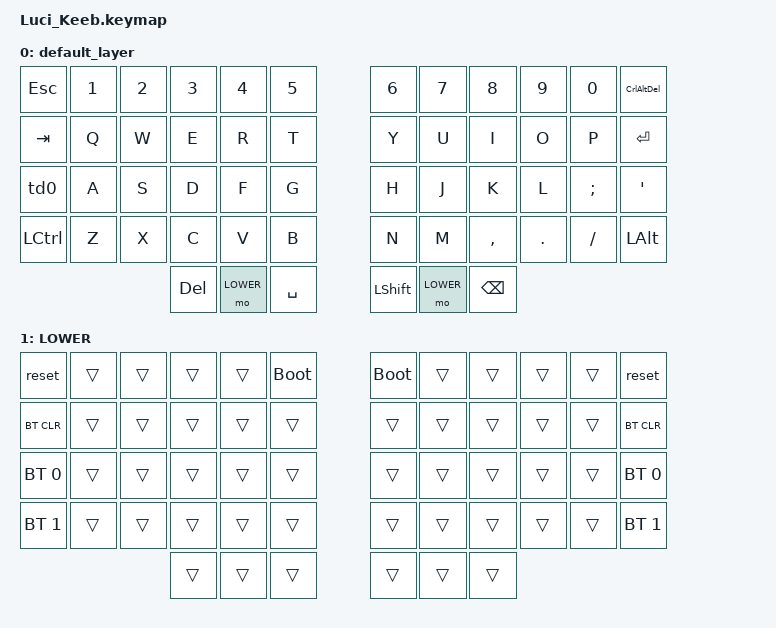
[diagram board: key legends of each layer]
// Usefull Links
//  Codes:       https://zmk.dev/docs/codes/
//  Hold-Tap:    https://zmk.dev/docs/behaviors/hold-tap/
//  Tap-Dance:   https://zmk.dev/docs/behaviors/tap-dance/
//  RGB:         https://zmk.dev/docs/behaviors/underglow/
//  Power:       https://zmk.dev/docs/behaviors/power/





//     --- Keymaps starts from here ---
//==============================================================================================================================================================================
#include <behaviors.dtsi>
#include <dt-bindings/zmk/keys.h>           // Standard keys
#include <dt-bindings/zmk/bt.h>             // Bluetooth selection
#include <dt-bindings/zmk/outputs.h>        // Output over usb or bluetooth





//---Layers---------------------------------------------------------------------
#define DEFAULT 0
#define LOWER 1





//==============================================================================================================================================================================
/ {
    behaviors {
    //----------------------------------------------------------------------Default Layer Tap Dance
        td0: tap_dance_0 {
            compatible = "zmk,behavior-tap-dance";
            label = "TAP_DANCE_0";
            #binding-cells = <0>;
            tapping-term-ms = <200>;
            bindings = <&kp LSHFT>, <&kp CLCK>; // Shift, CapsLock

            // Called on 'default_layer' where shift would be
        };
    };
    
    
//______________________________________________________________________________________________________________________________________________________________________________
    macros {
    //----------------------------------------------------------------------
        CrlAltDel: zed_em_kay_1 {
            label = "Control_ALT_Delete";
            compatible = "zmk,behavior-macro";
            #binding-cells = <0>;
            bindings
                = <&macro_press &kp LALT &kp LCTRL>
                , <&macro_tap &kp DEL>
                , <&macro_release &kp LALT &kp LCTRL>
                ;
        };
    };
//==============================================================================================================================================================================




//==============================================================================================================================================================================
        keymap {
                compatible = "zmk,keymap";
//______________________________________________________________________________________________________________________________________________________________________________
                default_layer {     // Main QWERTY
// -----------------------------------------------------------------------------------------
// |  ESC |  1  |  2  |  3  |  4  |  5  |      |  6  |  7  |  8  |  9  | 10  |  =  |
// |  TAB |  Q  |  W  |  E  |  R  |  T  |      |  Y  |  U  |  I  |  O  |  P  | ENT |
// |  td0 |  A  |  S  |  D  |  F  |  G  |      |  H  |  J  |  K  |  L  |  ;  |  '  |
// | CTRL |  Z  |  X  |  C  |  V  |  B  |      |  N  |  M  |  ,  |  .  |  /  | td3 |
//                    | DEL | LWR | SPC |      | SFT | LWR | BKS |
                        bindings = <
   &kp ESC   &kp N1 &kp N2  &kp N3  &kp N4    &kp N5            &kp N6    &kp N7    &kp N8    &kp N9  &kp N0   &CrlAltDel
   &kp TAB   &kp Q  &kp W   &kp E   &kp R     &kp T             &kp Y     &kp U     &kp I     &kp O   &kp P    &kp RET
   &td0      &kp A  &kp S   &kp D   &kp F     &kp G             &kp H     &kp J     &kp K     &kp L   &kp SEMI &kp SQT
   &kp LCTRL &kp Z  &kp X   &kp C   &kp V     &kp B             &kp N     &kp M     &kp COMMA &kp DOT &kp FSLH &kp LALT
                            &kp DEL &mo LOWER &kp SPACE         &kp LSHFT &mo LOWER &kp BSPC
                        >;
                };
                
                
//______________________________________________________________________________________________________________________________________________________________________________
                LOWER {     // Numbers and Symbols
// -----------------------------------------------------------------------------------------
// | RST | TNS | TNS | TNS | TNS | BOOT |      | BOOT | TNS | TNS | TNS | TNS | RST |
// | CLR | TNS | TNS | TNS | TNS | TNS  |      |  TNS | TNS | TNS | TNS | TNS | CLR |
// | BT1 | TNS | TNS | TNS | TNS | TNS  |      |  TNS | TNS | TNS | TNS | TNS | BT1 |
// | BT2 | TNS | TNS | TNS | TNS | TNS  |      |  TNS | TNS | TNS | TNS | TNS | BT2 |
//                   | TNS | TNS | TNS  |      |  TNS | TNS | TNS |
                        bindings = <
   &reset       &trans &trans &trans &trans &bootloader          &bootloader &trans &trans &trans &trans &reset
   &bt BT_CLR   &trans &trans &trans &trans &trans               &trans      &trans &trans &trans &trans &bt BT_CLR
   &bt BT_SEL 0 &trans &trans &trans &trans &trans               &trans      &trans &trans &trans &trans &bt BT_SEL 0
   &bt BT_SEL 1 &trans &trans &trans &trans &trans               &trans      &trans &trans &trans &trans &bt BT_SEL 1
                              &trans &trans &trans               &trans      &trans &trans
                        >;
                };  
        };
//==============================================================================================================================================================================
};
